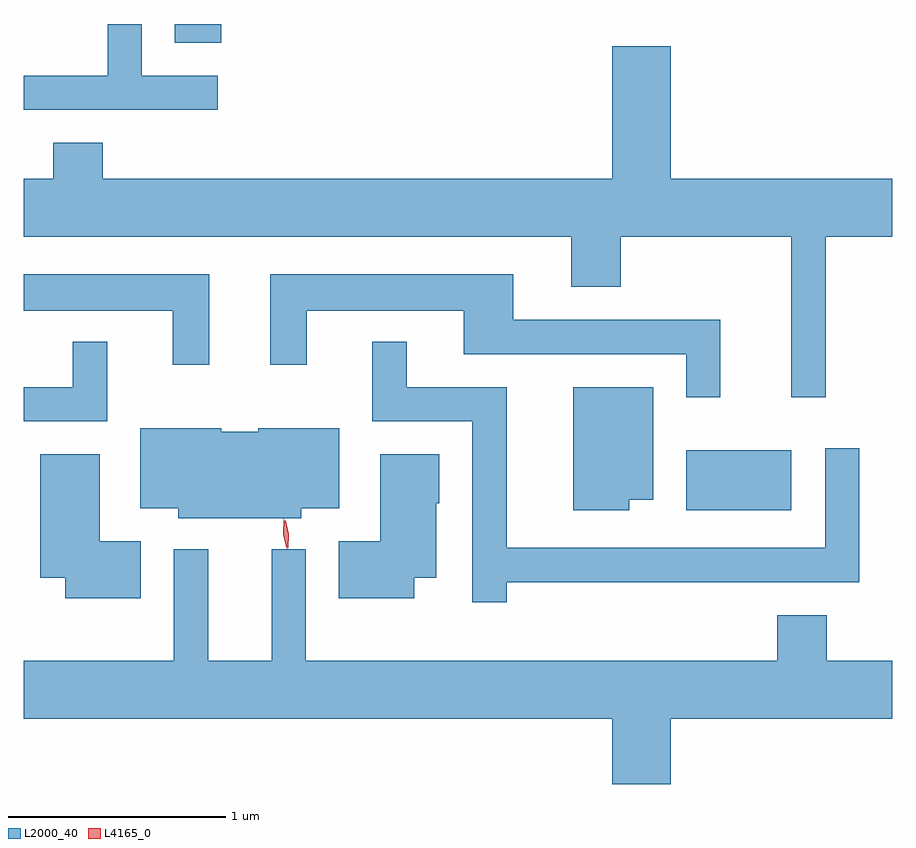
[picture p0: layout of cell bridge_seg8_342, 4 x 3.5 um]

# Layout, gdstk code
import gdstk
lib = gdstk.Library(unit=1e-6, precision=1e-09)
def R(c, l, rs):  # rectangles x0, y0, x1, y1
    for r in rs: c.add(gdstk.rectangle(r[:2], r[2:], *l))
def P(c, l, *ps):  # polygons
    for p in ps: c.add(gdstk.Polygon(p, *l))
L2000_40 = (2000, 40)
L4165_0 = (4165, 0)

bridge_seg8_342 = lib.new_cell('bridge_seg8_342')
R(bridge_seg8_342, L2000_40, [(714.916,1886.216,715.399,1886.494), (712.561,1888.371,712.774,1888.457)])
P(bridge_seg8_342, L2000_40, [(712.758,1888.219),(712.409,1888.219),(712.409,1888.457),(712.251,1888.457),(712.251,1888.219),(711.865,1888.219),(711.865,1888.061),(712.758,1888.061)],
  [(715.559,1887.476),(715.865,1887.476),(715.865,1887.744),(714.844,1887.744),(714.844,1888.354),(714.576,1888.354),(714.576,1887.744),(712.229,1887.744),(712.229,1887.909),(712.001,1887.909),(712.001,1887.744),(711.865,1887.744),(711.865,1887.476),(714.386,1887.476),(714.386,1887.246),(714.614,1887.246),(714.614,1887.476),(715.401,1887.476),(715.401,1886.738),(715.559,1886.738)],
  [(712.719,1887.304),(711.865,1887.304),(711.865,1887.136),(712.551,1887.136),(712.551,1886.888),(712.719,1886.888)],
  [(715.074,1887.094),(714.119,1887.094),(714.119,1887.304),(713.001,1887.304),(713.001,1886.888),(713.169,1886.888),(713.169,1887.136),(713.891,1887.136),(713.891,1886.936),(714.916,1886.936),(714.916,1886.738),(715.074,1886.738)],
  [(712.249,1886.993),(712.091,1886.993),(712.091,1886.784),(711.865,1886.784),(711.865,1886.626),(712.249,1886.626)],
  [(714.089,1885.886),(715.714,1885.886),(715.714,1886.503),(715.556,1886.503),(715.556,1886.044),(714.089,1886.044),(714.089,1886.784),(713.629,1886.784),(713.629,1886.993),(713.471,1886.993),(713.471,1886.626),(713.931,1886.626),(713.931,1885.793),(714.089,1885.793)],
  [(714.654,1886.266),(714.764,1886.266),(714.764,1886.784),(714.396,1886.784),(714.396,1886.216),(714.654,1886.216)],
  [(713.144,1886.226),(713.319,1886.226),(713.319,1886.594),(712.945,1886.594),(712.945,1886.579),(712.775,1886.579),(712.775,1886.594),(712.401,1886.594),(712.401,1886.226),(712.576,1886.226),(712.576,1886.181),(713.144,1886.181)],
  [(713.664,1885.906),(713.764,1885.906),(713.764,1886.25),(713.779,1886.25),(713.779,1886.474),(713.506,1886.474),(713.506,1886.074),(713.316,1886.074),(713.316,1885.811),(713.664,1885.811)],
  [(712.404,1886.074),(712.214,1886.074),(712.214,1886.474),(711.941,1886.474),(711.941,1885.906),(712.056,1885.906),(712.056,1885.811),(712.404,1885.811)],
  [(714.844,1885.256),(715.865,1885.256),(715.865,1885.524),(715.564,1885.524),(715.564,1885.734),(715.336,1885.734),(715.336,1885.524),(713.164,1885.524),(713.164,1886.038),(713.006,1886.038),(713.006,1885.524),(712.714,1885.524),(712.714,1886.038),(712.556,1886.038),(712.556,1885.524),(711.865,1885.524),(711.865,1885.256),(714.576,1885.256),(714.576,1884.956),(714.844,1884.956)])
P(bridge_seg8_342, L4165_0, [(713.081,1886.043),(713.081,1886.044),(713.066,1886.106),(713.07,1886.169),(713.071,1886.17),(713.071,1886.169),(713.086,1886.107),(713.082,1886.044)],
  [(713.076,1886.039),(713.076,1886.04),(713.06,1886.107),(713.062,1886.177),(713.063,1886.177),(713.063,1886.177),(713.079,1886.109),(713.076,1886.04)])

lib.write_gds('bridge_seg8_342.gds')
